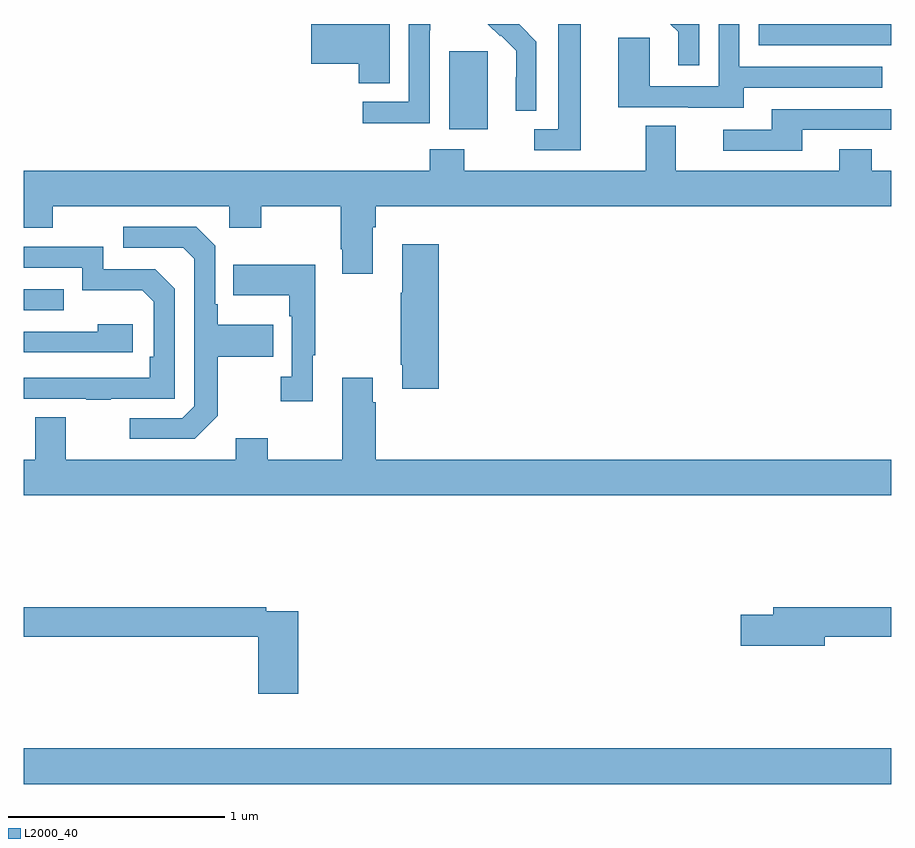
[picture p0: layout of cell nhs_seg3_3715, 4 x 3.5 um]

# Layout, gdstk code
import gdstk
lib = gdstk.Library(unit=1e-6, precision=1e-09)
def R(c, l, rs):  # rectangles x0, y0, x1, y1
    for r in rs: c.add(gdstk.rectangle(r[:2], r[2:], *l))
def P(c, l, *ps):  # polygons
    for p in ps: c.add(gdstk.Polygon(p, *l))
L2000_40 = (2000, 40)

nhs_seg3_3715 = lib.new_cell('nhs_seg3_3715')
R(nhs_seg3_3715, L2000_40, [(303,720.896,307,721.06), (303,723.081,303.185,723.177), (304.961,723.914,305.14,724.275)])
P(nhs_seg3_3715, L2000_40, [(304.687,724.4),(304.326,724.4),(304.326,724.217),(304.544,724.217),(304.544,724.126),(304.687,724.126)],
  [(305.569,724.4),(305.465,724.4),(305.465,723.915),(305.355,723.915),(305.355,723.819),(305.569,723.819)],
  [(306.114,724.4),(305.982,724.4),(306.017,724.365),(306.017,724.209),(306.114,724.209)],
  [(304.872,724.372),(304.875,724.372),(304.875,724.4),(304.776,724.4),(304.776,724.041),(304.563,724.041),(304.563,723.943),(304.872,723.943)],
  [(305.364,724.318),(305.291,724.391),(305.292,724.392),(305.284,724.4),(305.14,724.4),(305.196,724.344),(305.199,724.347),(305.27,724.277),(305.27,724.154),(305.268,724.154),(305.268,724),(305.364,724)],
  [(307,724.398),(306.499,724.398),(306.499,724.4),(306.39,724.4),(306.39,724.302),(307,724.302)],
  [(306.319,724.107),(306.959,724.107),(306.959,724.203),(306.3,724.203),(306.3,724.4),(306.204,724.4),(306.204,724.113),(305.886,724.113),(305.886,724.337),(305.741,724.337),(305.741,724.017),(306.065,724.017),(306.065,724.013),(306.319,724.013)],
  [(306.589,723.912),(307,723.912),(307,724.008),(306.449,724.008),(306.449,723.912),(306.225,723.912),(306.225,723.816),(306.589,723.816)],
  [(303,723.461),(303.135,723.461),(303.135,723.56),(303.948,723.56),(303.948,723.461),(304.095,723.461),(304.095,723.56),(304.462,723.56),(304.462,723.361),(304.469,723.361),(304.469,723.249),(304.609,723.249),(304.609,723.464),(304.622,723.464),(304.622,723.56),(307,723.56),(307,723.724),(306.909,723.724),(306.909,723.823),(306.761,723.823),(306.761,723.724),(306.007,723.724),(306.007,723.932),(305.867,723.932),(305.867,723.724),(305.031,723.724),(305.031,723.823),(304.871,723.823),(304.871,723.724),(303,723.724)],
  [(303.895,722.593),(303.895,722.866),(304.151,722.866),(304.151,723.013),(303.895,723.013),(303.895,723.109),(303.882,723.109),(303.882,723.378),(303.795,723.465),(303.459,723.465),(303.459,723.369),(303.735,723.369),(303.786,723.318),(303.786,722.637),(303.732,722.583),(303.489,722.583),(303.489,722.487),(303.789,722.487)],
  [(304.913,723.385),(304.745,723.385),(304.745,723.161),(304.738,723.161),(304.738,722.83),(304.745,722.83),(304.745,722.718),(304.913,722.718)],
  [(303.401,722.673),(303.696,722.673),(303.696,723.18),(303.606,723.27),(303.366,723.27),(303.366,723.372),(303,723.372),(303,723.276),(303.27,723.276),(303.27,723.173),(303.547,723.173),(303.6,723.12),(303.6,722.866),(303.58,722.866),(303.58,722.769),(303,722.769),(303,722.673),(303.289,722.673),(303.289,722.668),(303.401,722.668)],
  [(304.333,722.873),(304.345,722.873),(304.345,723.289),(303.967,723.289),(303.967,723.149),(304.224,723.149),(304.224,723.053),(304.236,723.053),(304.236,722.774),(304.185,722.774),(304.185,722.661),(304.333,722.661)],
  [(303.502,723.016),(303.341,723.016),(303.341,722.982),(303,722.982),(303,722.886),(303.502,722.886)],
  [(303.977,722.491),(303.977,722.392),(303.193,722.392),(303.193,722.587),(303.053,722.587),(303.053,722.392),(303,722.392),(303,722.228),(307,722.228),(307,722.392),(304.622,722.392),(304.622,722.657),(304.609,722.657),(304.609,722.77),(304.469,722.77),(304.469,722.392),(304.125,722.392),(304.125,722.491)],
  [(304.265,721.692),(304.118,721.692),(304.118,721.712),(303,721.712),(303,721.576),(304.082,721.576),(304.082,721.311),(304.265,721.311)],
  [(306.694,721.576),(307,721.576),(307,721.712),(306.455,721.712),(306.455,721.676),(306.306,721.676),(306.306,721.534),(306.694,721.534)])

lib.write_gds('nhs_seg3_3715.gds')
